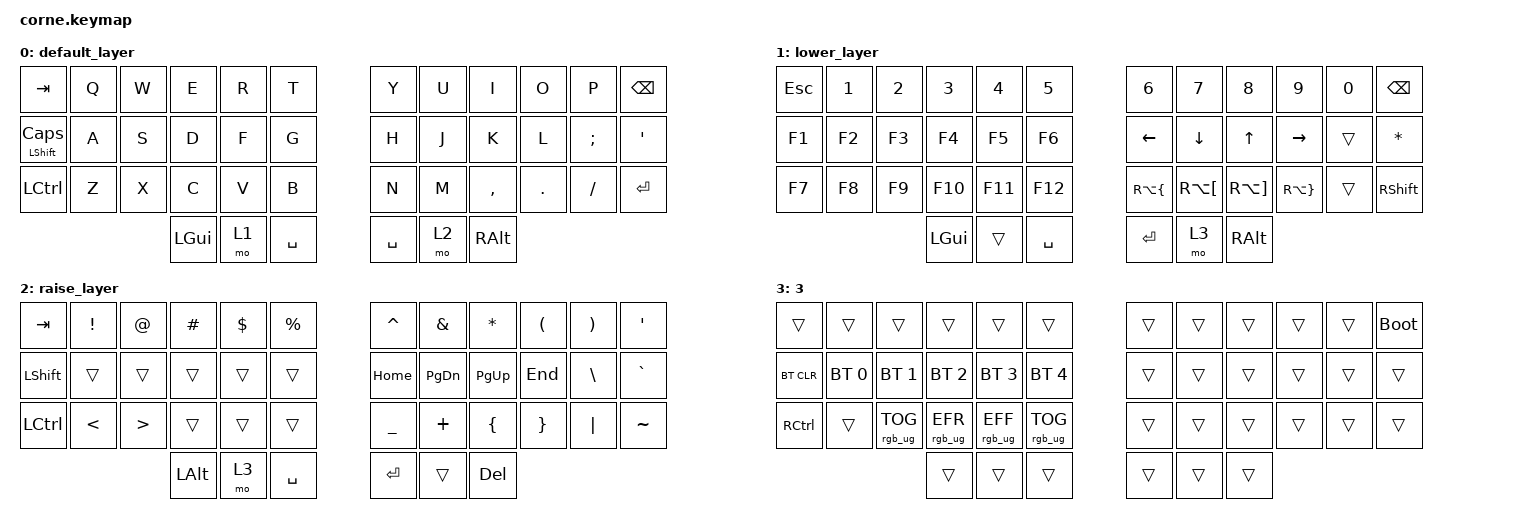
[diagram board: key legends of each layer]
/*
 * Copyright (c) 2020 The ZMK Contributors
 *
 * SPDX-License-Identifier: MIT
 */
/*
Archivo creado con la utilidad de keymap editor, es una adaptación de mi
configuracion en el crkbd, lo estare modificando y cuando tenga el corner 
con el nuevo chip lo instalare.
*/
#include <behaviors.dtsi>
#include <dt-bindings/zmk/bt.h>
#include <dt-bindings/zmk/keys.h>
#include <dt-bindings/zmk/rgb.h>

/ {
    keymap {
        compatible = "zmk,keymap";

        default_layer {
            // -----------------------------------------------------------------------------------------
            // |  TAB        |  Q  |  W  |  E  |  R  |  T  |        |  Y  |  U   |  I  |  O  |  P  | BKSP |
            // | LSHIFT/CAPS |  A  |  S  |  D  |  F  |  G  |        |  H  |  J   |  K  |  L  |  ;  |  '   |
            // | LCTRL       |  Z  |  X  |  C  |  V  |  B  |        |  N  |  M   |  ,  |  .  |  /  | ENT  |
            //                              | GUI | LWR | SPC |  | SPC | RSE  | RALT |

            bindings = <
&kp TAB                  &kp Q  &kp W  &kp E     &kp R  &kp T        &kp Y      &kp U  &kp I      &kp O    &kp P     &kp BSPC
&mt LEFT_SHIFT CAPSLOCK  &kp A  &kp S  &kp D     &kp F  &kp G        &kp H      &kp J  &kp K      &kp L    &kp SEMI  &kp SQT
&kp LCTRL                &kp Z  &kp X  &kp C     &kp V  &kp B        &kp N      &kp M  &kp COMMA  &kp DOT  &kp FSLH  &kp RETURN
                                       &kp LGUI  &mo 1  &kp SPACE    &kp SPACE  &mo 2  &kp RALT
            >;
        };

        lower_layer {
            // -----------------------------------------------------------------------------------------
            // | ESC |  1  |  2  |  3  |  4  |  5  |         |  6  |  7  |  8  |  9  |  0  | BKSP |
            // |  F1 |  F2 |  F3 |  F4 |  F5 |  F6 |         | LFT | DWN |  UP | RGT |     |      |
            // |  F7 |  F8 |  F9 | F10 | F11 | F12 |         |  {  |  [  |  ]  |  }  |     | RSHIFT |
            //                     | GUI |     | SPC |     | ENT | MO3 | ALT |

            bindings = <
&kp ESCAPE  &kp N1  &kp N2  &kp N3    &kp N4   &kp N5       &kp N6              &kp N7                &kp N8                 &kp N9               &kp N0  &kp BSPC
&kp F1      &kp F2  &kp F3  &kp F4    &kp F5   &kp F6       &kp LEFT            &kp DOWN              &kp UP                 &kp RIGHT            &trans  &kp ASTERISK
&kp F7      &kp F8  &kp F9  &kp F10   &kp F11  &kp F12      &kp RA(LEFT_BRACE)  &kp RA(LEFT_BRACKET)  &kp RA(RIGHT_BRACKET)  &kp RA(RIGHT_BRACE)  &trans  &kp RIGHT_SHIFT
                            &kp LGUI  &trans   &kp SPACE    &kp RET             &mo 3                 &kp RALT
            >;
        };

        raise_layer {
            // -----------------------------------------------------------------------------------------
            // |  TAB  |  !  |  @  |  #  |  $  |  %  |       |  ^   |   &   |   *   |  (  |  )  | BKSP |
            // | LSHFT |     |     |     |     |     |       | HOME | PG-DN | PG_UP | END |  \  |  `   |
            // | LCTRL |  <  |  >  |     |     |     |       |   _  |   +   |   {   |  }  | "|" |  ~   |
            //                       | GUI |     | SPC |   | ENT |     | ALT |

            bindings = <
&kp TAB         &kp EXCL       &kp AT            &kp HASH      &kp DLLR  &kp PRCNT    &kp CARET  &kp AMPS       &kp ASTRK  &kp LPAR  &kp RPAR  &kp SQT
&kp LEFT_SHIFT  &trans         &trans            &trans        &trans    &trans       &kp HOME   &kp PAGE_DOWN  &kp PG_UP  &kp END   &kp BSLH  &kp GRAVE
&kp LCTRL       &kp LESS_THAN  &kp GREATER_THAN  &trans        &trans    &trans       &kp UNDER  &kp PLUS       &kp LBRC   &kp RBRC  &kp PIPE  &kp TILDE
                                                 &kp LEFT_ALT  &mo 3     &kp SPACE    &kp RET    &trans         &kp DEL
            >;
        };

        bluethooth {
            bindings = <
&trans      &trans        &trans           &trans           &trans           &trans             &trans  &trans  &trans  &trans  &trans  &bootloader
&bt BT_CLR  &bt BT_SEL 0  &bt BT_SEL 1     &bt BT_SEL 2     &bt BT_SEL 3     &bt BT_SEL 4       &trans  &trans  &trans  &trans  &trans  &trans
&kp RCTRL   &trans        &rgb_ug RGB_TOG  &rgb_ug RGB_EFR  &rgb_ug RGB_EFF  &rgb_ug RGB_TOG    &trans  &trans  &trans  &trans  &trans  &trans
                                           &trans           &trans           &trans             &trans  &trans  &trans
            >;

            label = "3";
        };
    };
};
